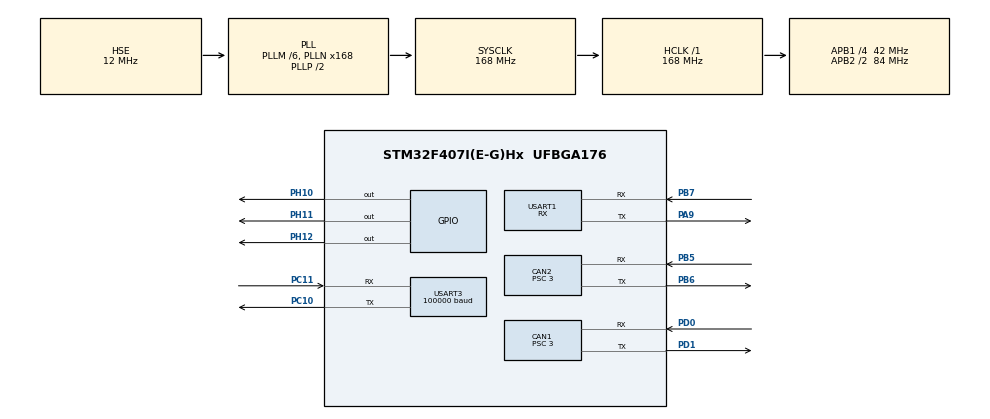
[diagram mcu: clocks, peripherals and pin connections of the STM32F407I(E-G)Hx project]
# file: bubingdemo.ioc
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CAN1.ABOM=ENABLE
CAN1.BS1=CAN_BS1_10TQ
CAN1.BS2=CAN_BS2_3TQ
CAN1.CalculateBaudRate=1000000
CAN1.CalculateTimeBit=1000
CAN1.CalculateTimeQuantum=71.42857142857143
CAN1.NART=ENABLE
CAN1.Prescaler=3
CAN2.BS1=CAN_BS1_10TQ
CAN2.BS2=CAN_BS2_3TQ
CAN2.CalculateBaudRate=1000000
CAN2.CalculateTimeBit=1000
CAN2.CalculateTimeQuantum=71.42857142857143
CAN2.Prescaler=3
Dma.Request0=USART3_RX
Dma.Request1=USART1_RX
Dma.USART1_RX.1.Direction=DMA_PERIPH_TO_MEMORY
Dma.USART1_RX.1.FIFOMode=DMA_FIFOMODE_DISABLE
Dma.USART1_RX.1.Instance=DMA2_Stream2
Dma.USART1_RX.1.MemDataAlignment=DMA_MDATAALIGN_BYTE
Dma.USART1_RX.1.MemInc=DMA_MINC_ENABLE
Dma.USART1_RX.1.Mode=DMA_NORMAL
Dma.USART1_RX.1.PeriphDataAlignment=DMA_PDATAALIGN_BYTE
Dma.USART1_RX.1.PeriphInc=DMA_PINC_DISABLE
Dma.USART1_RX.1.Priority=DMA_PRIORITY_HIGH
Dma.USART3_RX.0.Direction=DMA_PERIPH_TO_MEMORY
Dma.USART3_RX.0.FIFOMode=DMA_FIFOMODE_DISABLE
Dma.USART3_RX.0.Instance=DMA1_Stream1
Dma.USART3_RX.0.MemDataAlignment=DMA_MDATAALIGN_BYTE
Dma.USART3_RX.0.MemInc=DMA_MINC_ENABLE
Dma.USART3_RX.0.Mode=DMA_NORMAL
Dma.USART3_RX.0.PeriphDataAlignment=DMA_PDATAALIGN_BYTE
Dma.USART3_RX.0.PeriphInc=DMA_PINC_DISABLE
Dma.USART3_RX.0.Priority=DMA_PRIORITY_VERY_HIGH
FREERTOS.Tasks01=defaultTask,0,128,StartDefaultTask,Default,NULL,Dynamic,NULL,NULL;myTask02,-3,128,StartTask02,As external,NULL,Dynamic,NULL,NULL;myTask03,-3,128,StartTask03,As external,NULL,Dynamic,NULL,NULL
Mcu.Family=STM32F4
Mcu.Name=STM32F407I(E-G)Hx
Mcu.Package=UFBGA176
NVIC.CAN1_RX0_IRQn=true\:5\:0\:false\:false\:true\:true\:true\:true\:true
NVIC.CAN1_RX1_IRQn=true\:5\:0\:false\:false\:true\:true\:true\:true\:true
NVIC.CAN1_SCE_IRQn=true\:5\:0\:false\:false\:true\:true\:true\:true\:true
NVIC.CAN1_TX_IRQn=true\:5\:0\:false\:false\:true\:true\:true\:true\:true
NVIC.CAN2_RX0_IRQn=true\:5\:0\:false\:false\:true\:true\:true\:true\:true
NVIC.CAN2_RX1_IRQn=true\:5\:0\:false\:false\:true\:true\:true\:true\:true
NVIC.CAN2_SCE_IRQn=true\:5\:0\:false\:false\:true\:true\:true\:true\:true
NVIC.CAN2_TX_IRQn=true\:5\:0\:false\:false\:true\:true\:true\:true\:true
NVIC.DMA1_Stream1_IRQn=true\:5\:0\:false\:false\:true\:true\:false\:true\:true
NVIC.DMA2_Stream2_IRQn=true\:5\:0\:false\:false\:true\:true\:false\:true\:true
NVIC.PriorityGroup=NVIC_PRIORITYGROUP_4
NVIC.TIM1_UP_TIM10_IRQn=true\:15\:0\:false\:false\:true\:false\:false\:true\:true
NVIC.TimeBase=TIM1_UP_TIM10_IRQn
NVIC.TimeBaseIP=TIM1
NVIC.USART1_IRQn=true\:5\:0\:false\:false\:true\:true\:true\:true\:true
NVIC.USART3_IRQn=true\:5\:0\:false\:false\:true\:true\:true\:true\:true
PA13.Mode=Serial_Wire
PA13.Signal=SYS_JTMS-SWDIO
PA14.Mode=Serial_Wire
PA14.Signal=SYS_JTCK-SWCLK
PA9.Mode=Asynchronous
PA9.Signal=USART1_TX
PB5.Mode=CAN_Activate
PB5.Signal=CAN2_RX
PB6.Mode=CAN_Activate
PB6.Signal=CAN2_TX
PB7.Mode=Asynchronous
PB7.Signal=USART1_RX
PC10.Mode=Asynchronous
PC10.Signal=USART3_TX
PC11.Mode=Asynchronous
PC11.Signal=USART3_RX
PD0.Mode=CAN_Activate
PD0.Signal=CAN1_RX
PD1.Mode=CAN_Activate
PD1.Signal=CAN1_TX
PH0-OSC_IN.Mode=HSE-External-Oscillator
PH0-OSC_IN.Signal=RCC_OSC_IN
PH1-OSC_OUT.Mode=HSE-External-Oscillator
PH1-OSC_OUT.Signal=RCC_OSC_OUT
PH10.GPIO_PuPd=GPIO_PULLDOWN
PH10.Signal=GPIO_Output
PH11.GPIO_PuPd=GPIO_PULLDOWN
PH11.Signal=GPIO_Output
PH12.GPIO_PuPd=GPIO_PULLDOWN
PH12.Signal=GPIO_Output
ProjectManager.HeapSize=0x200
ProjectManager.StackSize=0x400
ProjectManager.TargetToolchain=MDK-ARM V5.32
RCC.48MHZClocksFreq_Value=84000000
RCC.AHBFreq_Value=168000000
RCC.APB1CLKDivider=RCC_HCLK_DIV4
RCC.APB1Freq_Value=42000000
RCC.APB1TimFreq_Value=84000000
RCC.APB2CLKDivider=RCC_HCLK_DIV2
RCC.APB2Freq_Value=84000000
RCC.APB2TimFreq_Value=168000000
RCC.CortexFreq_Value=168000000
RCC.HCLKFreq_Value=168000000
RCC.HSE_VALUE=12000000
RCC.HSI_VALUE=16000000
RCC.LSE_VALUE=32768
RCC.PLLM=6
RCC.PLLN=168
RCC.PLLSourceVirtual=RCC_PLLSOURCE_HSE
RCC.SYSCLKFreq_VALUE=168000000
RCC.SYSCLKSource=RCC_SYSCLKSOURCE_PLLCLK
RCC.VCOOutputFreq_Value=336000000
USART1.Mode=MODE_RX
USART1.VirtualMode=VM_ASYNC
USART3.BaudRate=100000
USART3.Mode=MODE_RX
USART3.Parity=PARITY_EVEN
USART3.VirtualMode=VM_ASYNC
VP_FREERTOS_VS_CMSIS_V1.Mode=CMSIS_V1
VP_SYS_VS_tim1.Mode=TIM1
board=custom

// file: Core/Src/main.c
/* USER CODE BEGIN Header */
/**
  ******************************************************************************
  * @file           : main.c
  * @brief          : Main program body
  ******************************************************************************
  * @attention
  *
  * Copyright (c) 2025 STMicroelectronics.
  * All rights reserved.
  *
  * This software is licensed under terms that can be found in the LICENSE file
  * in the root directory of this software component.
  * If no LICENSE file comes with this software, it is provided AS-IS.
  *
  ******************************************************************************
  */
/* USER CODE END Header */
#include "main.h"
#include "cmsis_os.h"
#include "can.h"
#include "dma.h"
#include "usart.h"
#include "gpio.h"

/* USER CODE BEGIN Includes */
#include <stdio.h>
//#include "bsp_can.h"
//#include "bsp_usart.h"
//#include "remote.h"
/* USER CODE END Includes */

void SystemClock_Config(void);
void MX_FREERTOS_Init(void);

/* USER CODE BEGIN 0 */
#include "bsp_can.h"
#include "remote.h"
#include "DJI_motor.h"
#include "imu.h"
#include "motor.h"
#include "command.h"
/* USER CODE END 0 */

int main(void)
{

  /* MCU Configuration--------------------------------------------------------*/

  /* Reset of all peripherals, Initializes the Flash interface and the Systick. */
        HAL_Init();

  /* USER CODE BEGIN Init */
//static uint8_t rx_textdata[128] = 0;
  /* USER CODE END Init */

  /* Configure the system clock */
  SystemClock_Config();

  /* Initialize all configured peripherals */
  MX_GPIO_Init();
  MX_DMA_Init();
  MX_USART1_UART_Init();
  MX_CAN1_Init();
  MX_USART3_UART_Init();
  MX_CAN2_Init();
  /* USER CODE BEGIN 2 */
    Can_Start();
//    DJIMotor_inputcase();

        // MycanInit();
        // can_textcase();
        //    HAL_UARTEx_ReceiveToIdle_DMA(&huart3, rx_textdata, 128);
        //    __HAL_DMA_DISABLE_IT(huart3.hdmarx, DMA_IT_HT);
        //    Can_Start();
        __disable_irq();
        // remote_register();
        // IMU_Init();
        // Motor_Instance *motor_ins = Motor_Registercase();
        int init_flag = Comm_init();
        if (init_flag != 0)
        {
            return -1;
        }
        __enable_irq();
//    printf("init ok\n");
  /* USER CODE END 2 */

  /* Call init function for freertos objects (in freertos.c) */
  MX_FREERTOS_Init();

  /* Start scheduler */
  osKernelStart();

  /* We should never get here as control is now taken by the scheduler */
  /* Infinite loop */
    while (1)
    {

    /* USER CODE BEGIN 3 */
        // CanMotorTransmit(0x1ff, 5000, 1, 1, 1);
    }
  /* USER CODE END 3 */
}

void SystemClock_Config(void)
{
  RCC_OscInitTypeDef RCC_OscInitStruct = {0};
  RCC_ClkInitTypeDef RCC_ClkInitStruct = {0};

  /** Configure the main internal regulator output voltage
  */
  __HAL_RCC_PWR_CLK_ENABLE();
  __HAL_PWR_VOLTAGESCALING_CONFIG(PWR_REGULATOR_VOLTAGE_SCALE1);

  /** Initializes the RCC Oscillators according to the specified parameters
  * in the RCC_OscInitTypeDef structure.
  */
  RCC_OscInitStruct.OscillatorType = RCC_OSCILLATORTYPE_HSE;
  RCC_OscInitStruct.HSEState = RCC_HSE_ON;
  RCC_OscInitStruct.PLL.PLLState = RCC_PLL_ON;
  RCC_OscInitStruct.PLL.PLLSource = RCC_PLLSOURCE_HSE;
  RCC_OscInitStruct.PLL.PLLM = 6;
  RCC_OscInitStruct.PLL.PLLN = 168;
  RCC_OscInitStruct.PLL.PLLP = RCC_PLLP_DIV2;
  RCC_OscInitStruct.PLL.PLLQ = 4;
  if (HAL_RCC_OscConfig(&RCC_OscInitStruct) != HAL_OK)
  {
    Error_Handler();
  }

  /** Initializes the CPU, AHB and APB buses clocks
  */
  RCC_ClkInitStruct.ClockType = RCC_CLOCKTYPE_HCLK|RCC_CLOCKTYPE_SYSCLK
                              |RCC_CLOCKTYPE_PCLK1|RCC_CLOCKTYPE_PCLK2;
  RCC_ClkInitStruct.SYSCLKSource = RCC_SYSCLKSOURCE_PLLCLK;
  RCC_ClkInitStruct.AHBCLKDivider = RCC_SYSCLK_DIV1;
  RCC_ClkInitStruct.APB1CLKDivider = RCC_HCLK_DIV4;
  RCC_ClkInitStruct.APB2CLKDivider = RCC_HCLK_DIV2;

  if (HAL_RCC_ClockConfig(&RCC_ClkInitStruct, FLASH_LATENCY_5) != HAL_OK)
  {
    Error_Handler();
  }
}

/* USER CODE BEGIN 4 */
//int fputc(int ch, FILE *f)
//{

// HAL_UART_Transmit(&huart1, (uint8_t *)&ch, 1, 0xffff);

// return ch;
//}
/* USER CODE END 4 */

void HAL_TIM_PeriodElapsedCallback(TIM_HandleTypeDef *htim)
{
  if (htim->Instance == TIM1) {
    HAL_IncTick();
  }
}

void Error_Handler(void)
{
  __disable_irq();
  while (1)
  {
  }
}

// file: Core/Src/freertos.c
/* USER CODE BEGIN Header */
/**
  ******************************************************************************
  * File Name          : freertos.c
  * Description        : Code for freertos applications
  ******************************************************************************
  * @attention
  *
  * Copyright (c) 2026 STMicroelectronics.
  * All rights reserved.
  *
  * This software is licensed under terms that can be found in the LICENSE file
  * in the root directory of this software component.
  * If no LICENSE file comes with this software, it is provided AS-IS.
  *
  ******************************************************************************
  */
/* USER CODE END Header */

#include "FreeRTOS.h"
#include "task.h"
#include "main.h"
#include "cmsis_os.h"

/* USER CODE BEGIN Includes */
#include "DJI_motor.h"
/* USER CODE END Includes */

osThreadId defaultTaskHandle;
osThreadId myTask02Handle;
osThreadId myTask03Handle;

void StartDefaultTask(void const * argument);
extern void StartTask02(void const * argument);
extern void StartTask03(void const * argument);

void MX_FREERTOS_Init(void); /* (MISRA C 2004 rule 8.1) */

/* GetIdleTaskMemory prototype (linked to static allocation support) */
void vApplicationGetIdleTaskMemory( StaticTask_t **ppxIdleTaskTCBBuffer, StackType_t **ppxIdleTaskStackBuffer, uint32_t *pulIdleTaskStackSize );

/* USER CODE BEGIN GET_IDLE_TASK_MEMORY */
static StaticTask_t xIdleTaskTCBBuffer;
static StackType_t xIdleStack[configMINIMAL_STACK_SIZE];

void vApplicationGetIdleTaskMemory( StaticTask_t **ppxIdleTaskTCBBuffer, StackType_t **ppxIdleTaskStackBuffer, uint32_t *pulIdleTaskStackSize )
{
  *ppxIdleTaskTCBBuffer = &xIdleTaskTCBBuffer;
  *ppxIdleTaskStackBuffer = &xIdleStack[0];
  *pulIdleTaskStackSize = configMINIMAL_STACK_SIZE;
  /* place for user code */
}
/* USER CODE END GET_IDLE_TASK_MEMORY */

void MX_FREERTOS_Init(void) {

  /* Create the thread(s) */
  /* definition and creation of defaultTask */
  osThreadDef(defaultTask, StartDefaultTask, osPriorityNormal, 0, 128);
  defaultTaskHandle = osThreadCreate(osThread(defaultTask), NULL);

  /* definition and creation of myTask02 */
  osThreadDef(myTask02, StartTask02, osPriorityIdle, 0, 128);
  myTask02Handle = osThreadCreate(osThread(myTask02), NULL);

  /* definition and creation of myTask03 */
  osThreadDef(myTask03, StartTask03, osPriorityIdle, 0, 128);
  myTask03Handle = osThreadCreate(osThread(myTask03), NULL);

}

void StartDefaultTask(void const * argument)
{
  /* USER CODE BEGIN StartDefaultTask */
  /* Infinite loop */
  for(;;)
  {
    vTaskDelay(50);
  }
  /* USER CODE END StartDefaultTask */
}

/* USER CODE BEGIN Application */

void StartTask02(void const *argument)
{
    for (;;)
    {
        HAL_GPIO_TogglePin(GPIOH, GPIO_PIN_10);
        vTaskDelay(50);
    }
}

void StartTask03(void const *argument)
{
    for (;;)
    {

//        DJIMotor_sendcase();
        Motor_controlcase();
        vTaskDelay(5);
    }
}

/* USER CODE END Application */
